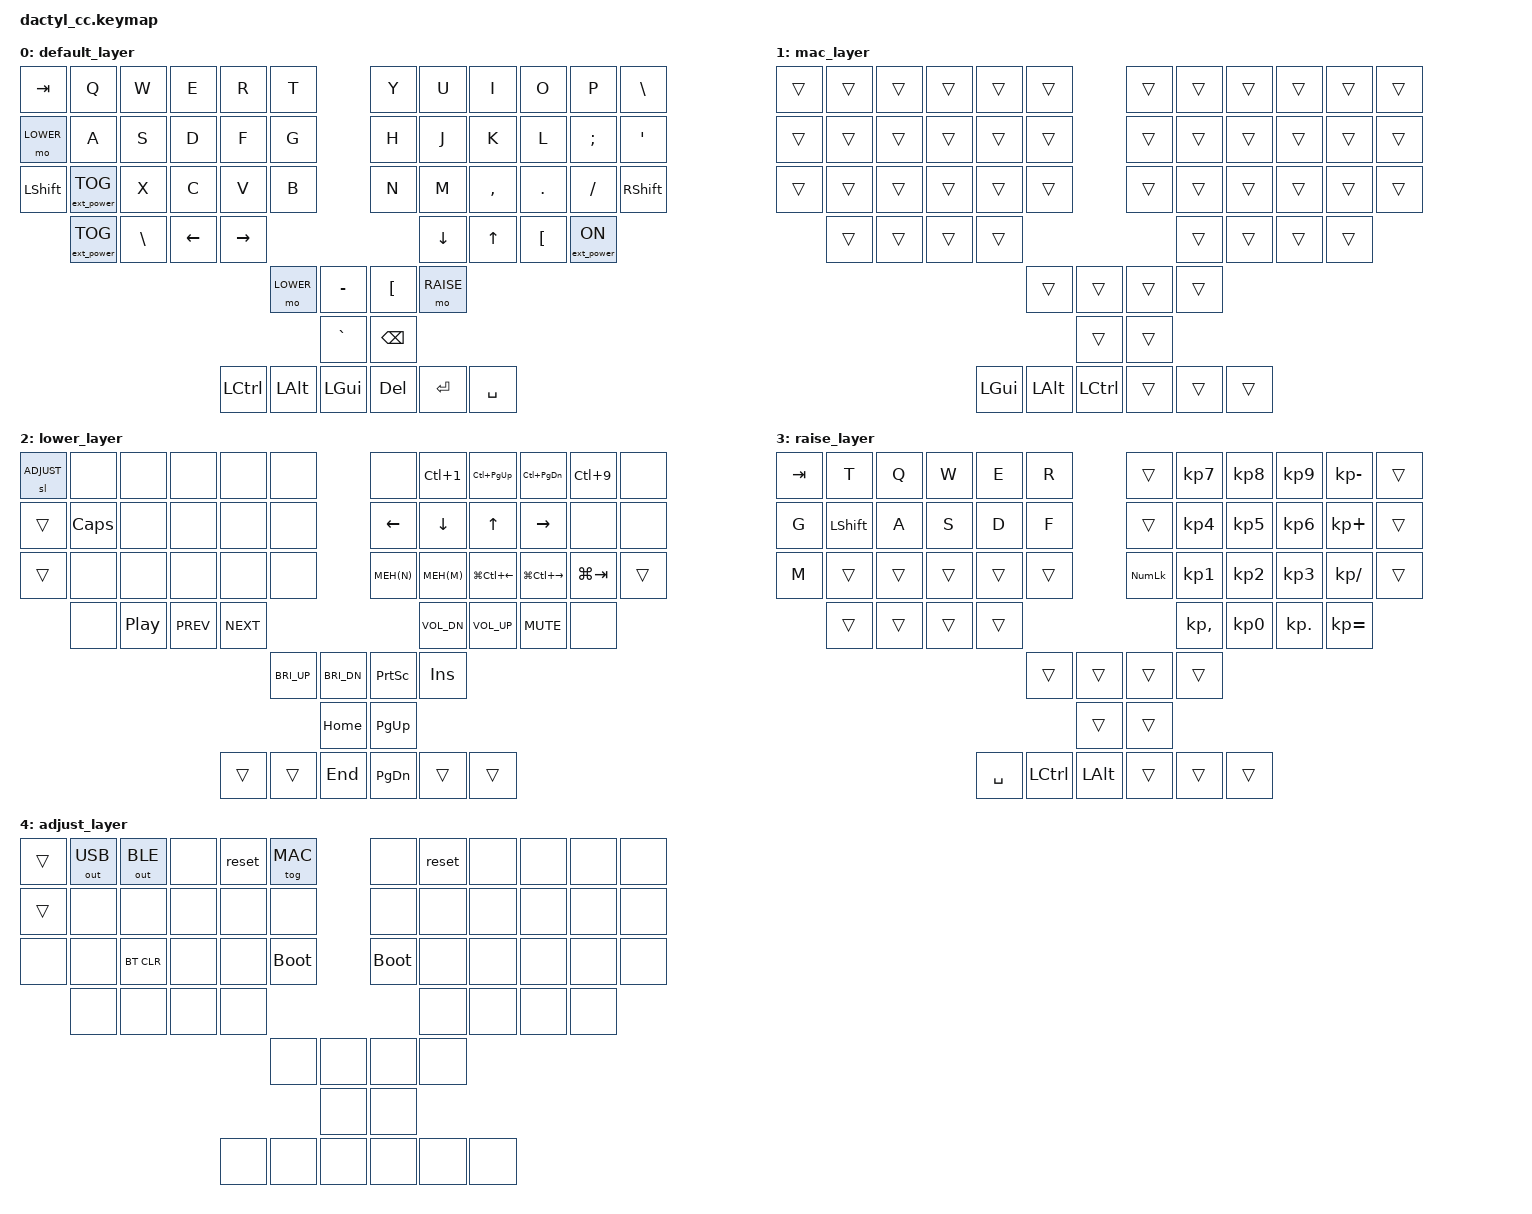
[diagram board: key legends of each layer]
#include <behaviors.dtsi>
#include <dt-bindings/zmk/keys.h>
#include <dt-bindings/zmk/bt.h>
#include <dt-bindings/zmk/outputs.h>
#include <dt-bindings/zmk/ext_power.h>

#define DEFAULT 0
#define MAC     1
#define LOWER   2
#define RAISE   3
#define ADJUST  4

#define HYPER(key) LS(LC(LA(LG(key))))
#define MEH(key)   LS(LC(LA(key)))

&sl {
    release-after-ms = <5000>;
};

&kscan0 {
    debounce-period = <25>;
};

/ {
    conditional_layers {
    compatible = "zmk,conditional-layers";

    tri_layer {
        if-layers = <LOWER RAISE>;
        then-layer = <ADJUST>;
    };
    };

    keymap {
        compatible = "zmk,keymap";

        default_layer {
            bindings = <
    &kp TAB   &kp Q     &kp W    &kp E     &kp R     &kp T                              &kp Y     &kp U     &kp I     &kp O     &kp P    &kp BSLH
    &mo LOWER &kp A     &kp S    &kp D     &kp F     &kp G                              &kp H     &kp J     &kp K     &kp L     &kp SEMI &kp SQT
    &kp LSHFT &ext_power EP_TOG     &kp X    &kp C     &kp V     &kp B                              &kp N     &kp M     &kp COMMA &kp DOT   &kp FSLH &kp RSHFT
              &ext_power EP_TOG &kp BSLH &kp LEFT  &kp RIGHT                                              &kp DOWN  &kp UP    &kp LBKT  &ext_power EP_ON
                                                      &mo LOWER &kp MINUS   &kp LBKT  &mo RAISE
                                                                &kp GRAVE   &kp BSPC
                                            &kp LCTRL &kp LALT  &kp LGUI    &kp DEL   &kp RET   &kp SPACE
            >;
        };

        mac_layer {
            bindings = <
    &trans   &trans     &trans     &trans     &trans     &trans                     &trans     &trans    &trans    &trans    &trans   &trans  
    &trans   &trans     &trans     &trans     &trans     &trans                     &trans     &trans    &trans    &trans    &trans   &trans  
    &trans   &trans     &trans     &trans     &trans     &trans                     &trans     &trans    &trans    &trans    &trans   &trans  
             &trans     &trans     &trans     &trans                                           &trans    &trans    &trans    &trans 
                                                         &trans  &trans     &trans  &trans 
                                                                 &trans     &trans    
                                              &kp LGUI &kp LALT  &kp LCTRL  &trans  &trans     &trans    
            >;
        };

        lower_layer {
            bindings = <
    &sl ADJUST &none     &none    &none      &none     &none                             &none         &kp LC(1)    &kp LC(PG_UP)    &kp LC(PG_DN)     &kp LC(9)   &none 
    &trans     &kp CAPS  &none    &none      &none     &none                             &kp LEFT      &kp DOWN     &kp UP           &kp RIGHT         &none       &none 
    &trans     &none     &none    &none      &none     &none                             &kp MEH(N)    &kp MEH(M)   &kp LG(LC(LEFT)) &kp LG(LC(RIGHT)) &kp LG(TAB) &trans 
               &none     &kp C_PP &kp C_PREV &kp C_NEXT                                                &kp C_VOL_DN &kp C_VOL_UP     &kp C_MUTE        &none 
                                                   &kp C_BRI_UP &kp C_BRI_DN   &kp PSCRN &kp INS
                                                                &kp HOME       &kp PG_UP
                                            &trans &trans       &kp END        &kp PG_DN &trans    &trans   
            >;       };

        raise_layer {
            bindings = <
    &kp TAB   &kp T     &kp Q    &kp W     &kp E     &kp R                           &trans      &kp KP_N7    &kp KP_N8 &kp KP_N9  &kp KP_MINUS &trans
    &kp G     &kp LSHFT &kp A    &kp S     &kp D     &kp F                           &trans      &kp KP_N4    &kp KP_N5 &kp KP_N6  &kp KP_PLUS  &trans
    &kp M     &trans    &trans   &trans    &trans    &trans                          &kp KP_NLCK &kp KP_N1    &kp KP_N2 &kp KP_N3  &kp KP_SLASH &trans
              &trans    &trans   &trans    &trans                                                &kp KP_COMMA &kp KP_N0 &kp KP_DOT &kp KP_EQUAL
                                                     &trans    &trans      &trans    &trans
                                                               &trans      &trans   
                                           &kp SPACE &kp LCTRL &kp LALT    &trans    &trans    &trans   
            >;
        };

        adjust_layer {
            bindings = <
    &trans    &out OUT_USB &out OUT_BLE &none        &reset       &tog MAC                             &none       &reset    &none     &none     &none    &none   
    &trans    &none        &none        &none        &none        &none                                &none       &none     &none     &none     &none    &none   
    &none     &none        &bt BT_CLR   &none        &none        &bootloader                          &bootloader &none     &none     &none     &none    &none   
              &none        &none        &none        &none                                                         &none     &none     &none     &none 
                                                                  &none       &none       &none     &none 
                                                                              &none       &none    
                                                         &none    &none       &none       &none     &none     &none    
            >;
        };
    };
};
